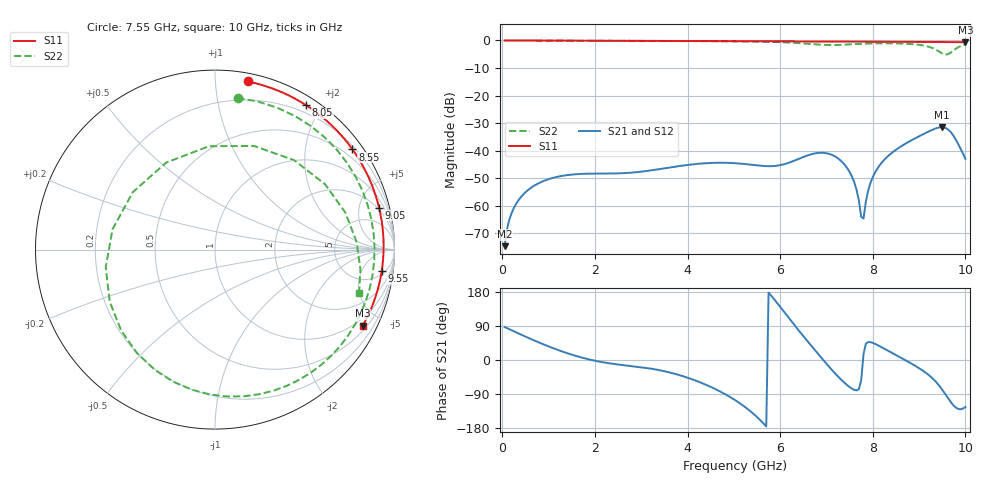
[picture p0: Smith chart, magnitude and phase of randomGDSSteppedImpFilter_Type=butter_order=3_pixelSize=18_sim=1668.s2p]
! freq	dB(S11)	phase(S11)	dB(S12)	phase(S12)
!  dB(S21)	phase(S21)	dB(S22)	phase(S22)
!S-par simulation data
#  GHz  S  DB  R 50
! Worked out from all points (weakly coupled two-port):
!   200 points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, 50 MHz to 10 GHz, reference 50 ohm
!   highest |S21| = -31.48 dB at 9.5 GHz (marker M1); lowest = -74.7 dB at 50 MHz (marker M2)
!   lowest |S11| = -0.7 dB at 10 GHz (marker M3), VSWR 25.94, Z = 33.9 - j201 ohm
!   |S11| at or under -10 dB: nowhere
!   |S22| runs from -5.1 to 0.0 dB; largest |S21 - S12| = 0
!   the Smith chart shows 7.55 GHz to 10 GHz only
!   S11 on the Smith chart (normalised r, x): 7.55 GHz: 0.06, +1.21; 8.05 GHz: 0.11, +1.81; 8.55 GHz: 0.28, +3.05; 9.05 GHz: 1.77, +7.53; 9.55 GHz: 6, -12; 10 GHz: 0.68, -4.02
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0.05  -0.00 -2.1  -74.67 87.1  -74.67 87.1  -0.00 -3.7
0.2  -0.01 -8.3  -62.70 78.5  -62.70 78.5  -0.02 -14.8
0.5  -0.03 -20.6  -55.12 61.7  -55.12 61.7  -0.05 -36.5
1.75  -0.09 -69.9  -48.40 5.3  -48.40 5.3  -0.13 -117.1
3.4  -0.16 -129.1  -46.68 -27.0  -46.68 -27.0  -0.19 156.1
4.3  -0.20 -159.7  -44.67 -60.4  -44.67 -60.4  -0.25 107.8
5.05  -0.25 174.6  -44.58 -107.6  -44.58 -107.6  -0.33 61.1
5.95  -0.31 142.4  -45.42 148.3  -45.42 148.3  -0.60 -12.7
6.4  -0.34 125.4  -42.97 78.1  -42.97 78.1  -0.96 -66.3
6.7  -0.36 113.7  -41.19 33.5  -41.19 33.5  -1.34 -114.3
7.1  -0.38 97.7  -41.41 -23.8  -41.41 -23.8  -1.67 165.8
7.55  -0.41 79.0  -49.39 -75.6  -49.39 -75.6  -1.37 81.6
7.8  -0.42 68.4  -64.63 15.5  -64.63 15.5  -1.17 45.8
8.05  -0.43 57.7  -47.92 42.5  -47.92 42.5  -1.05 16.3
8.35  -0.45 44.8  -41.66 23.1  -41.66 23.1  -1.03 -14.1
8.55  -0.47 36.1  -39.09 9.8  -39.09 9.8  -1.08 -32.9
9.05  -0.51 14.4  -34.35 -25.6  -34.35 -25.6  -1.71 -85.1
9.3  -0.53 3.5  -32.33 -49.7  -32.33 -49.7  -2.83 -127.1
9.5  -0.56 -5.2  -31.48 -78.4  -31.48 -78.4  -4.70 168.8
9.55  -0.57 -7.4  -31.62 -87.3  -31.62 -87.3  -5.05 145.1
9.7  -0.60 -14.0  -33.59 -113.7  -33.59 -113.7  -4.20 69.3
10  -0.67 -27.2  -42.96 -124.0  -42.96 -124.0  -1.53 -16.7
